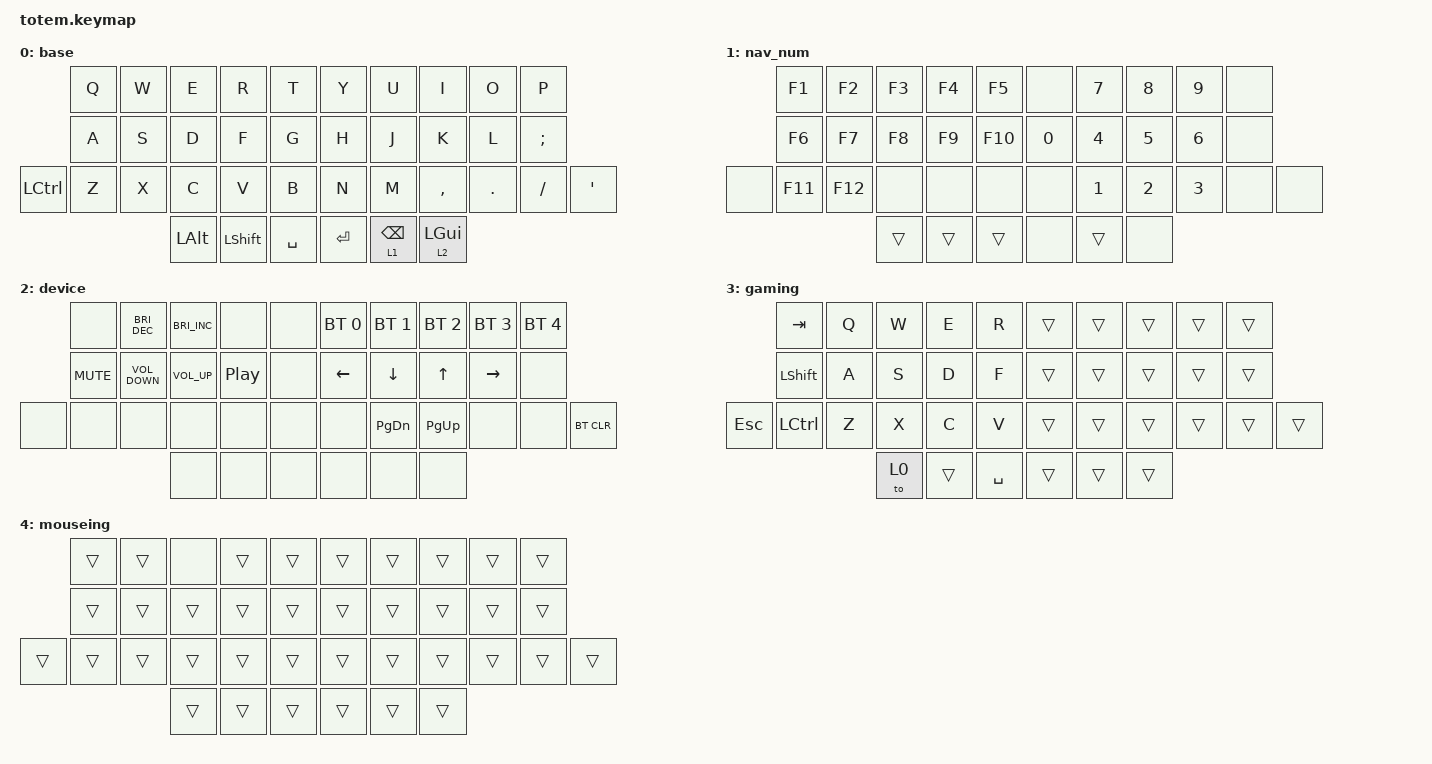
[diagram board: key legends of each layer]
//
//                                                        ▀▀▀▀▀     ▀▀▀▀▀          ▀▀█▀▀
//                                                        ▄▀▀▀▄  ▄  ▄▀▀▀▄  ▄  ▄▀▀▀▄  █  ▄▀▀▀▄
//                                                        █   █  █  █   █  █  █   █  █  █   █
//                                                         ▀▀▀   █   ▀▀▀   █   ▀▀▀   ▀   ▀▀▀
//                                                               █      ▄▄▄█▄▄▄    █   █  
//                                                               ▀      █  █  █     █▄█
//                                                             ▀▀▀▀▀    █  █  █      ▀
//                                                                      ▀  ▀  ▀
//
// ▄▄▄▄▄▄▄▄▄▄▄▄▄▄▄▄▄▄▄▄▄▄▄▄▄▄▄▄▄▄▄▄▄▄▄▄▄▄▄▄▄▄▄▄▄▄▄▄▄▄▄▄▄▄▄▄▄▄▄▄▄▄▄▄▄▄▄▄▄▄▄▄▄▄▄▄▄▄▄▄▄▄▄▄▄▄▄▄▄▄▄▄▄▄▄▄▄▄▄▄▄▄▄▄▄▄▄▄▄▄▄▄▄▄▄▄▄▄▄▄▄▄▄▄▄▄▄▄▄▄▄▄▄▄▄▄▄▄▄▄▄▄▄▄▄▄▄▄▄

#include <behaviors.dtsi>
#include <dt-bindings/zmk/bt.h>
#include <dt-bindings/zmk/keys.h>

/ {
    combos {
        compatible = "zmk,combos";

        pluss {
            bindings = <&kp PLUS>;
            key-positions = <6 16>;
            layers = <0>;
            require-prior-idle-ms = <150>;
        };

        minus {
            bindings = <&kp MINUS>;
            key-positions = <16 27>;
            layers = <0>;
            require-prior-idle-ms = <150>;
        };

        underscore {
            bindings = <&kp UNDERSCORE>;
            key-positions = <26 15>;
            layers = <0>;
            require-prior-idle-ms = <150>;
        };

        caret {
            bindings = <&kp CARET>;
            key-positions = <5 15>;
            layers = <0>;
            require-prior-idle-ms = <150>;
        };

        mult {
            bindings = <&kp STAR>;
            key-positions = <7 17>;
            layers = <0>;
            require-prior-idle-ms = <150>;
        };

        div {
            bindings = <&kp SLASH>;
            key-positions = <17 28>;
            layers = <0>;
            require-prior-idle-ms = <150>;
        };

        and {
            bindings = <&kp AMPERSAND>;
            key-positions = <18 8>;
            layers = <0>;
            require-prior-idle-ms = <150>;
        };

        or {
            bindings = <&kp PIPE>;
            key-positions = <18 29>;
            layers = <0>;
            require-prior-idle-ms = <150>;
        };

        backspace {
            bindings = <&kp BACKSPACE>;
            key-positions = <6 7>;
            layers = <0>;
            require-prior-idle-ms = <150>;
        };

        backspaceWord {
            bindings = <&kp LC(BACKSPACE)>;
            key-positions = <5 6>;
            layers = <0>;
            require-prior-idle-ms = <150>;
        };

        delete {
            bindings = <&kp DELETE>;
            key-positions = <7 8>;
            layers = <0>;
            require-prior-idle-ms = <150>;
        };

        leftPar {
            bindings = <&kp LEFT_PARENTHESIS>;
            key-positions = <16 17>;
            layers = <0>;
            require-prior-idle-ms = <150>;
        };

        rightPar {
            bindings = <&kp RIGHT_PARENTHESIS>;
            key-positions = <17 18>;
            layers = <0>;
            require-prior-idle-ms = <150>;
        };

        leftBrac {
            bindings = <&kp LEFT_BRACKET>;
            key-positions = <28 27>;
            layers = <0>;
            require-prior-idle-ms = <150>;
        };

        rightBrac {
            bindings = <&kp RIGHT_BRACKET>;
            key-positions = <28 29>;
            layers = <0>;
            require-prior-idle-ms = <150>;
        };

        percent {
            bindings = <&kp PERCENT>;
            key-positions = <4 14>;
            layers = <0>;
            require-prior-idle-ms = <150>;
        };

        tilde {
            bindings = <&kp TILDE>;
            key-positions = <14 25>;
            layers = <0>;
            require-prior-idle-ms = <150>;
        };

        dollar {
            bindings = <&kp DOLLAR>;
            key-positions = <3 13>;
            layers = <0>;
            require-prior-idle-ms = <150>;
        };

        equal {
            bindings = <&kp KP_EQUAL>;
            key-positions = <13 24>;
            layers = <0>;
            require-prior-idle-ms = <150>;
        };

        hash {
            bindings = <&kp HASH>;
            key-positions = <2 12>;
            layers = <0>;
            require-prior-idle-ms = <150>;
        };

        backslash {
            bindings = <&kp BACKSLASH>;
            key-positions = <23 12>;
            layers = <0>;
            require-prior-idle-ms = <150>;
        };

        at {
            bindings = <&kp AT_SIGN>;
            key-positions = <1 11>;
            layers = <0>;
            require-prior-idle-ms = <150>;
        };

        backtick {
            bindings = <&kp GRAVE>;
            key-positions = <11 22>;
            layers = <0>;
            require-prior-idle-ms = <150>;
        };

        escape {
            bindings = <&kp ESCAPE>;
            key-positions = <1 2>;
            layers = <0>;
            require-prior-idle-ms = <150>;
        };

        tab {
            bindings = <&kp TAB>;
            key-positions = <11 12>;
            layers = <0>;
            require-prior-idle-ms = <150>;
        };

        copy {
            bindings = <&kp K_COPY>;
            key-positions = <21 22>;
            layers = <0>;
            require-prior-idle-ms = <150>;
        };

        paste {
            bindings = <&kp K_PASTE>;
            key-positions = <23 24>;
            layers = <0>;
            require-prior-idle-ms = <150>;
        };

        lessThan {
            bindings = <&kp LESS_THAN>;
            key-positions = <24 25>;
            layers = <0>;
            require-prior-idle-ms = <150>;
        };

        moreThan {
            bindings = <&kp GREATER_THAN>;
            key-positions = <26 27>;
            layers = <0>;
            require-prior-idle-ms = <150>;
        };

        gameLayer {
            bindings = <&to 3>;
            key-positions = <2 11 13>;
            layers = <0>;
            require-prior-idle-ms = <150>;
        };

        exclamation {
            bindings = <&kp EXCLAMATION>;
            key-positions = <9 19>;
            require-prior-idle-ms = <150>;
            layers = <0>;
        };

        question {
            bindings = <&kp QUESTION>;
            key-positions = <19 30>;
            require-prior-idle-ms = <150>;
            layers = <0>;
        };
    };

    keymap {
        compatible = "zmk,keymap";

        base {
            bindings = <
           &kp Q  &kp W  &kp E     &kp R           &kp T        &kp Y      &kp U            &kp I           &kp O    &kp P
           &kp A  &kp S  &kp D     &kp F           &kp G        &kp H      &kp J            &kp K           &kp L    &kp SEMI
&kp LCTRL  &kp Z  &kp X  &kp C     &kp V           &kp B        &kp N      &kp M            &kp COMMA       &kp DOT  &kp FSLH  &kp APOS
                         &kp LALT  &kp LEFT_SHIFT  &kp SPACE    &kp ENTER  &lt 1 BACKSPACE  &lt 2 LEFT_GUI
            >;
        };

        nav_num {
            bindings = <
       &kp F1   &kp F2   &kp F3  &kp F4  &kp F5     &none   &kp NUMBER_7  &kp NUMBER_8  &kp NUMBER_9  &none
       &kp F6   &kp F7   &kp F8  &kp F9  &kp F10    &kp N0  &kp NUMBER_4  &kp NUMBER_5  &kp NUMBER_6  &none
&none  &kp F11  &kp F12  &none   &none   &none      &none   &kp NUMBER_1  &kp NUMBER_2  &kp NUMBER_3  &none  &none
                         &trans  &trans  &trans     &none   &trans        &none
            >;
        };

        device {
            bindings = <
       &none       &kp C_BRIGHTNESS_DEC  &kp C_BRIGHTNESS_INC  &none             &none    &bt BT_SEL 0    &bt BT_SEL 1    &bt BT_SEL 2  &bt BT_SEL 3     &bt BT_SEL 4
       &kp K_MUTE  &kp C_VOLUME_DOWN     &kp C_VOLUME_UP       &kp C_PLAY_PAUSE  &none    &kp LEFT_ARROW  &kp DOWN_ARROW  &kp UP_ARROW  &kp RIGHT_ARROW  &none
&none  &none       &none                 &none                 &none             &none    &none           &kp PG_DN       &kp PG_UP     &none            &none         &bt BT_CLR
                                         &none                 &none             &none    &none           &none           &none
            >;
        };

        gaming {
            bindings = <
            &kp TAB    &kp Q  &kp W  &kp E   &kp R        &trans  &trans  &trans  &trans  &trans
            &kp LSHFT  &kp A  &kp S  &kp D   &kp F        &trans  &trans  &trans  &trans  &trans
&kp ESCAPE  &kp LCTRL  &kp Z  &kp X  &kp C   &kp V        &trans  &trans  &trans  &trans  &trans  &trans
                              &to 0  &trans  &kp SPACE    &trans  &trans  &trans
            >;
        };

        mouseing {
            bindings = <
        &trans  &trans  &none   &trans  &trans    &trans  &trans  &trans  &trans  &trans
        &trans  &trans  &trans  &trans  &trans    &trans  &trans  &trans  &trans  &trans
&trans  &trans  &trans  &trans  &trans  &trans    &trans  &trans  &trans  &trans  &trans  &trans
                        &trans  &trans  &trans    &trans  &trans  &trans
            >;
        };
    };

    conditional_layers { compatible = "zmk,conditional-layers"; };
};
